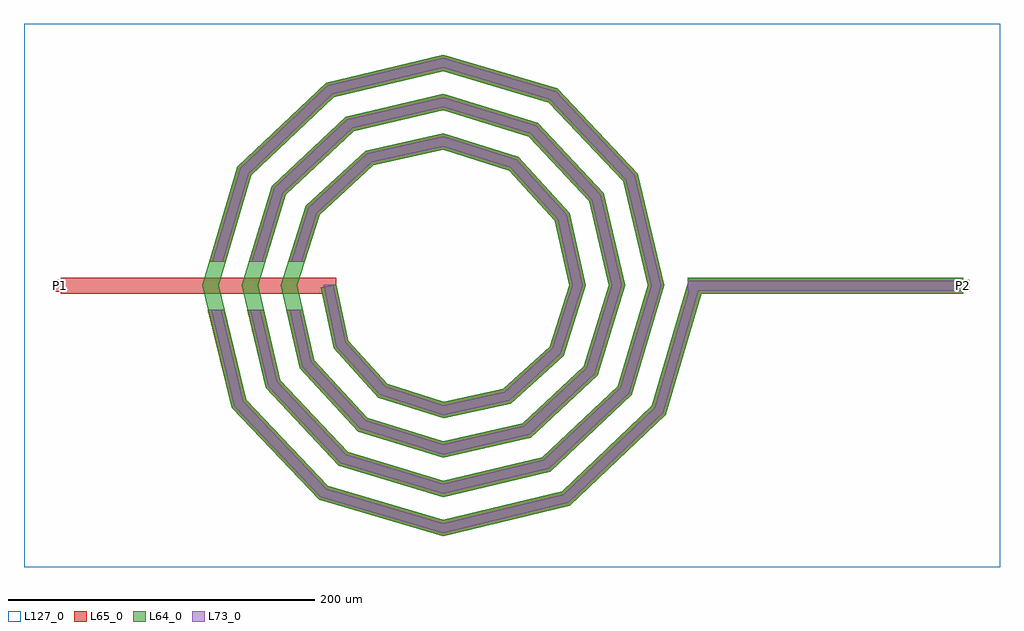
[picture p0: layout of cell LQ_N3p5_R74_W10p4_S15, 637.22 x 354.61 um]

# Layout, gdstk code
import gdstk
lib = gdstk.Library(unit=1e-6, precision=1e-09)
def R(c, l, rs):  # rectangles x0, y0, x1, y1
    for r in rs: c.add(gdstk.rectangle(r[:2], r[2:], *l))
def P(c, l, *ps):  # polygons
    for p in ps: c.add(gdstk.Polygon(p, *l))
L64_0 = (64, 0)
L65_0 = (65, 0)
L73_0 = (73, 0)
L127_0 = (127, 0)

lq_n3p5_r74_w10p4_s15 = lib.new_cell('LQ_N3p5_R74_W10p4_S15')
R(lq_n3p5_r74_w10p4_s15, L64_0, [(159.57,-5.2,339.57,5.2)])
P(lq_n3p5_r74_w10p4_s15, L64_0, [(-61.879,-36.048),(-36.642,-64.008),(0.264,-75.894),(39.241,-67.452),(69.56,-39.87),(82.316,0.245),(73.022,42.436),(43.097,75.113),(0.228,88.739),(-45.633,78.592),(-80.667,46.321),(-95.161,0.214),(-84.161,-48.832),(-49.544,-86.222),(0.201,-101.584),(52.033,-89.729),(91.779,-52.765),(108.006,0.19),(95.297,55.235),(55.986,97.335),(0.179,114.429),(-58.437,100.864),(-102.893,59.205),(-120.851,0.17),(-106.431,-61.641),(-62.424,-108.451),(0.162,-127.274),(64.846,-111.997),(114.009,-65.642),(133.697,0.155),(117.563,68.051),(68.859,119.568),(0.148,140.119),(-71.256,123.128),(-125.127,72.076),(-146.542,0.142),(-128.693,-74.462),(-75.293,-130.686),(0.136,-152.965),(77.669,-134.259),(136.246,-78.509),(159.781,1.468),(169.758,-1.468),(145.436,-84.12),(82.819,-143.714),(0.136,-163.729),(-80.913,-139.87),(-138.155,-79.603),(-157.306,0.142),(-134.305,77.707),(-76.386,132.595),(0.148,150.883),(74.501,128.739),(127.036,73.169),(144.46,0.155),(123.173,-71.295),(69.951,-121.477),(0.162,-138.037),(-68.091,-117.607),(-115.919,-66.732),(-131.614,0.17),(-112.04,64.886),(-63.513,110.36),(0.179,125.19),(61.683,106.473),(104.803,60.293),(118.767,0.19),(100.905,-58.48),(57.072,-99.246),(0.201,-112.344),(-55.279,-95.336),(-93.689,-53.85),(-105.921,0.214),(-89.766,52.079),(-50.626,88.133),(0.228,99.497),(48.88,84.196),(82.578,47.4),(93.074,0.245),(78.624,-45.684),(44.173,-77.024),(0.264,-86.65),(-42.49,-73.051),(-71.472,-40.942),(-79.936,-1.08),(-69.763,1.08)])
R(lq_n3p5_r74_w10p4_s15, L65_0, [(-249.649,-5.2,-69.649,5.2), (159.57,-5.2,339.57,5.2), (-253.649,-4,-245.649,4), (335.57,-4,343.57,4)])
P(lq_n3p5_r74_w10p4_s15, L65_0, [(-128.694,-74.462),(-75.293,-130.686),(0.136,-152.965),(77.669,-134.259),(136.246,-78.509),(159.781,1.468),(169.758,-1.468),(145.436,-84.12),(82.819,-143.715),(0.136,-163.729),(-80.913,-139.87),(-138.155,-79.603),(-153.525,-15.6),(-142.83,-15.6)],
  [(-106.431,-61.641),(-62.424,-108.451),(0.162,-127.274),(64.846,-111.997),(114.009,-65.642),(133.697,0.155),(117.563,68.051),(68.859,119.568),(0.148,140.119),(-71.256,123.128),(-125.127,72.076),(-141.874,15.6),(-152.722,15.6),(-134.305,77.707),(-76.386,132.595),(0.148,150.883),(74.501,128.739),(127.036,73.169),(144.46,0.155),(123.173,-71.295),(69.951,-121.477),(0.162,-138.037),(-68.091,-117.607),(-115.919,-66.732),(-127.914,-15.6),(-117.232,-15.6)],
  [(-84.161,-48.832),(-49.544,-86.223),(0.201,-101.584),(52.033,-89.729),(91.779,-52.765),(108.006,0.19),(95.297,55.235),(55.986,97.335),(0.179,114.429),(-58.437,100.864),(-102.893,59.205),(-116.082,15.6),(-126.947,15.6),(-112.04,64.886),(-63.513,110.36),(0.179,125.19),(61.683,106.473),(104.803,60.293),(118.767,0.19),(100.905,-58.48),(57.072,-99.246),(0.201,-112.344),(-55.279,-95.336),(-93.689,-53.85),(-102.343,-15.6),(-91.68,-15.6)],
  [(-36.642,-64.008),(0.264,-75.894),(39.241,-67.452),(69.56,-39.87),(82.317,0.245),(73.023,42.436),(43.097,75.113),(0.228,88.739),(-45.633,78.592),(-80.667,46.321),(-90.236,15.6),(-101.128,15.6),(-89.767,52.079),(-50.626,88.133),(0.228,99.497),(48.88,84.196),(82.578,47.4),(93.074,0.245),(78.624,-45.684),(44.173,-77.024),(0.264,-86.65),(-42.49,-73.051),(-71.472,-40.942),(-79.936,-1.08),(-69.763,1.08),(-61.879,-36.048)])
R(lq_n3p5_r74_w10p4_s15, L73_0, [(159.57,-3.2,339.57,3.2)])
P(lq_n3p5_r74_w10p4_s15, L73_0, [(-130.513,-75.451),(-76.374,-132.452),(0.084,-155.035),(78.659,-136.077),(138.013,-79.588),(161.7,0.903),(167.84,0.903),(143.668,-83.041),(81.829,-141.896),(0.084,-161.659),(-79.832,-138.104),(-136.335,-78.614),(-151.469,-15.6),(-144.887,-15.6)],
  [(-108.255,-62.62),(-63.514,-110.212),(0.1,-129.344),(65.827,-113.82),(115.771,-66.729),(135.767,0.095),(119.385,69.035),(69.944,121.332),(0.091,142.189),(-72.243,124.949),(-126.892,73.159),(-143.96,15.6),(-150.636,15.6),(-132.54,76.624),(-75.399,130.775),(0.091,148.813),(73.416,126.976),(125.214,72.184),(142.39,0.095),(121.411,-70.208),(68.969,-119.654),(0.1,-135.967),(-67.001,-115.846),(-114.094,-65.753),(-125.86,-15.6),(-119.286,-15.6)],
  [(-85.994,-49.797),(-50.647,-87.975),(0.124,-103.653),(53.002,-91.56),(93.534,-53.864),(110.076,0.117),(97.125,56.207),(57.081,99.093),(0.11,116.498),(-59.414,102.69),(-104.652,60.298),(-118.171,15.6),(-124.857,15.6),(-110.281,63.794),(-62.537,108.534),(0.11,123.121),(60.587,104.715),(102.975,59.32),(116.698,0.117),(99.15,-57.381),(56.103,-97.416),(0.124,-110.275),(-54.176,-93.583),(-91.857,-52.885),(-100.292,-15.6),(-93.731,-15.6)],
  [(-37.766,-65.747),(0.163,-77.963),(40.189,-69.293),(71.303,-40.988),(84.385,0.151),(74.86,43.391),(44.209,76.86),(0.141,90.808),(-46.593,80.427),(-82.417,47.428),(-92.33,15.6),(-99.034,15.6),(-88.017,50.972),(-49.666,86.298),(0.141,97.428),(47.768,82.449),(80.741,46.446),(91.005,0.151),(76.881,-44.566),(43.224,-75.184),(0.163,-84.582),(-41.365,-71.312),(-69.627,-40.001),(-77.98,0.665),(-71.719,0.665),(-63.724,-36.989)])
R(lq_n3p5_r74_w10p4_s15, L127_0, [(-273.649,-183.729,363.57,170.883)])
lq_n3p5_r74_w10p4_s15.add(gdstk.Label('P2', (339.57,0), layer=65, texttype=0))
lq_n3p5_r74_w10p4_s15.add(gdstk.Label('P1', (-249.649,0), layer=65, texttype=0))
lq_n3p5_r74_w10p4_s15.add(gdstk.Label('P2', (343.57,0), layer=145, texttype=0))
lq_n3p5_r74_w10p4_s15.add(gdstk.Label('P1', (-253.649,0), layer=145, texttype=0))

lib.write_gds('LQ_N3p5_R74_W10p4_S15.gds')
